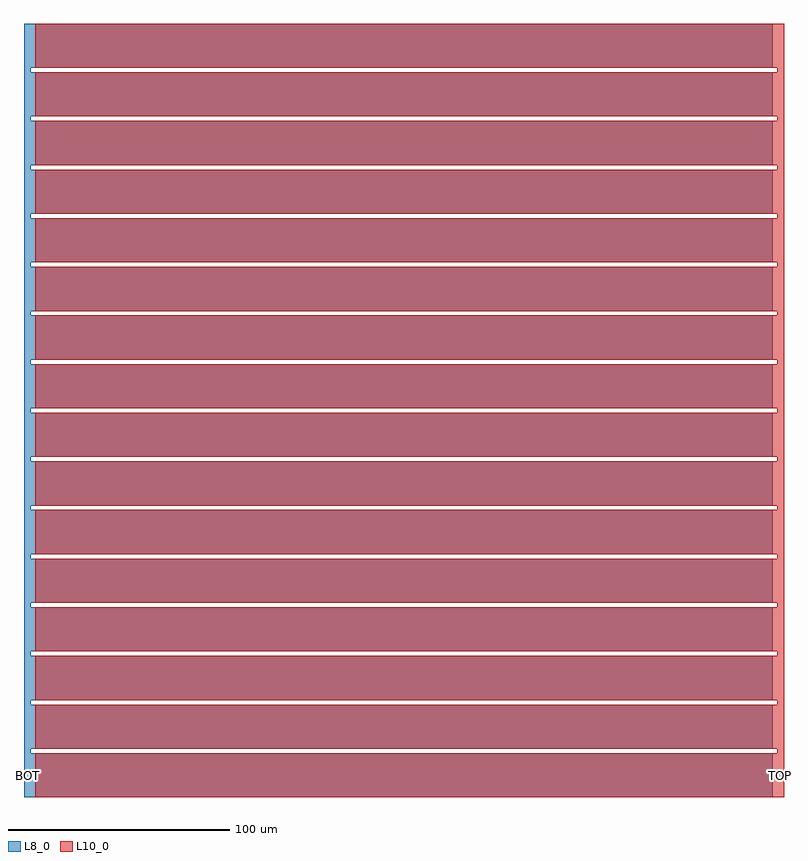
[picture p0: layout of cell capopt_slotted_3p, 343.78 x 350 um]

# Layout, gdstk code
import gdstk
lib = gdstk.Library(unit=1e-6, precision=1e-09)
def R(c, l, rs):  # rectangles x0, y0, x1, y1
    for r in rs: c.add(gdstk.rectangle(r[:2], r[2:], *l))
def A(c, l, x, y, w, h, nx, ny, dx, dy):  # array of equal rectangles
    R(c, l, [(x+i*dx, y+j*dy, x+i*dx+w, y+j*dy+h) for i in range(nx) for j in range(ny)])
L8_0 = (8, 0)
L10_0 = (10, 0)

capopt_slotted_3p = lib.new_cell('capopt_slotted_3p')
A(capopt_slotted_3p, L8_0, -5, 0, 338.78, 20, 1, 16, 0, 22)
R(capopt_slotted_3p, L8_0, [(-5,0,-2,350)])
A(capopt_slotted_3p, L10_0, 0, 0, 338.78, 20, 1, 16, 0, 22)
R(capopt_slotted_3p, L10_0, [(335.78,0,338.78,350)])
capopt_slotted_3p.add(gdstk.Label('BOT', (-3.5,10), layer=8, texttype=7))
capopt_slotted_3p.add(gdstk.Label('TOP', (337.28,10), layer=10, texttype=7))

lib.write_gds('capopt_slotted_3p.gds')
